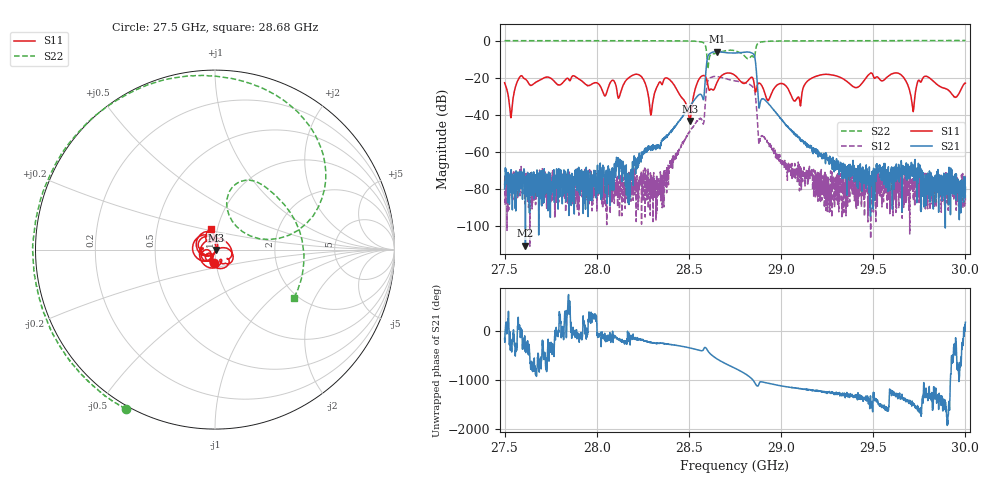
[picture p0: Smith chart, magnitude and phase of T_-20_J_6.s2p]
!Keysight Technologies,N5234A,MY55441357,A.10.47.05
!Date: Sunday, November 19, 2017 16:06:21
!Correction: S11(Full 2 Port(1,2))
!S21(Full 2 Port(1,2))
!S12(Full 2 Port(1,2))
!S22(Full 2 Port(1,2))
!S2P File: Measurements: S11, S21, S12, S22:
# Hz S  dB  R 50
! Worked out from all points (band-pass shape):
!   2501 points, 27.5 GHz to 30 GHz, reference 50 ohm
!   highest |S21| = -5.77 dB at 28.65 GHz (marker M1); lowest = -110.8 dB at 27.61 GHz (marker M2)
!   |S21| within 3 dB of the highest: 28.6 GHz to 28.86 GHz (255.5 MHz wide, 0.889 % of centre)
!   lowest |S11| = -43.2 dB at 28.51 GHz (marker M3), VSWR 1.01, Z = 50.7 - j0.237 ohm
!   |S11| at or under -10 dB: start of sweep to end of sweep
!   |S22| runs from -15.1 to 0.3 dB; largest |S21 - S12| = 0.62
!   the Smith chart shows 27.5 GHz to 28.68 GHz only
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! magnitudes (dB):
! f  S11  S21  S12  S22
! 27.5 GHz  -22.6  -80.1  -78.0  0.2
! 27.53 GHz  -41.5  -76.1  -81.7  0.2
! 27.61 GHz  -20.6  -110.8  -73.4  0.2
! 27.92 GHz  -21.5  -69.7  -77.8  0.2
! 28.12 GHz  -31.0  -67.8  -81.1  0.1
! 28.17 GHz  -20.0  -88.4  -82.5  0.1
! 28.23 GHz  -18.2  -67.6  -78.8  0.1
! 28.3 GHz  -39.6  -56.9  -77.5  0.1
! 28.33 GHz  -23.2  -56.8  -82.6  0.1
! 28.51 GHz  -43.2  -35.2  -48.7  -0.1
! 28.56 GHz  -19.7  -28.8  -42.0  -0.4
! 28.61 GHz  -26.2  -7.3  -20.5  -10.8
! 28.65 GHz  -22.5  -5.8  -19.3  -6.5
! 28.75 GHz  -18.6  -6.5  -21.6  -5.3
! 28.85 GHz  -20.5  -6.9  -25.0  -8.4
! 28.89 GHz  -23.1  -33.3  -53.1  -0.7
! 29.1 GHz  -30.7  -51.9  -70.5  0.0
! 29.17 GHz  -20.1  -59.0  -70.8  0.1
! 29.58 GHz  -18.8  -80.5  -81.0  0.1
! 29.71 GHz  -37.6  -67.6  -74.5  0.2
! 29.78 GHz  -19.1  -78.8  -82.2  0.2
! 30 GHz  -22.8  -79.2  -87.9  0.2
